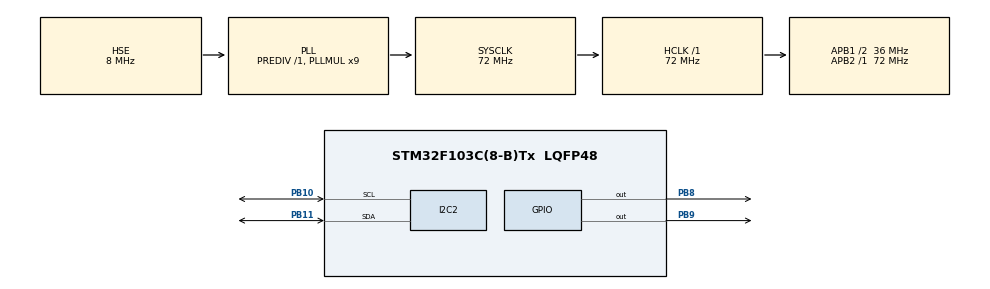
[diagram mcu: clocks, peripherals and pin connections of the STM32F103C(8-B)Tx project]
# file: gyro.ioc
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I2C2.I2C_Mode=I2C_Standard
Mcu.Family=STM32F1
Mcu.Name=STM32F103C(8-B)Tx
Mcu.Package=LQFP48
NVIC.PriorityGroup=NVIC_PRIORITYGROUP_4
NVIC.TIM3_IRQn=true\:0\:0\:false\:false\:true\:true\:true\:true
PA13.Mode=Serial_Wire
PA13.Signal=SYS_JTMS-SWDIO
PA14.Mode=Serial_Wire
PA14.Signal=SYS_JTCK-SWCLK
PB10.Mode=I2C
PB10.Signal=I2C2_SCL
PB11.Mode=I2C
PB11.Signal=I2C2_SDA
PB8.GPIO_ModeDefaultOutputPP=GPIO_MODE_OUTPUT_OD
PB8.GPIO_PuPd=GPIO_PULLUP
PB8.GPIO_Speed=GPIO_SPEED_FREQ_HIGH
PB8.PinState=GPIO_PIN_SET
PB8.Signal=GPIO_Output
PB9.GPIO_ModeDefaultOutputPP=GPIO_MODE_OUTPUT_OD
PB9.GPIO_PuPd=GPIO_PULLUP
PB9.GPIO_Speed=GPIO_SPEED_FREQ_HIGH
PB9.PinState=GPIO_PIN_SET
PB9.Signal=GPIO_Output
PD0-OSC_IN.Mode=HSE-External-Oscillator
PD0-OSC_IN.Signal=RCC_OSC_IN
PD1-OSC_OUT.Mode=HSE-External-Oscillator
PD1-OSC_OUT.Signal=RCC_OSC_OUT
ProjectManager.HeapSize=0x200
ProjectManager.StackSize=0x400
ProjectManager.TargetToolchain=CMake
RCC.AHBFreq_Value=72000000
RCC.APB1CLKDivider=RCC_HCLK_DIV2
RCC.APB1Freq_Value=36000000
RCC.APB1TimFreq_Value=72000000
RCC.APB2Freq_Value=72000000
RCC.APB2TimFreq_Value=72000000
RCC.HCLKFreq_Value=72000000
RCC.PLLMUL=RCC_PLL_MUL9
RCC.PLLSourceVirtual=RCC_PLLSOURCE_HSE
RCC.SYSCLKFreq_VALUE=72000000
RCC.SYSCLKSource=RCC_SYSCLKSOURCE_PLLCLK
RCC.USBFreq_Value=72000000
TIM3.Period=9999
TIM3.Prescaler=71
VP_TIM3_VS_ClockSourceINT.Mode=Internal
board=custom

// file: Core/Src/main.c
/* USER CODE BEGIN Header */
/**
  ******************************************************************************
  * @file           : main.c
  * @brief          : Main program body
  ******************************************************************************
  * @attention
  *
  * Copyright (c) 2026 STMicroelectronics.
  * All rights reserved.
  *
  * This software is licensed under terms that can be found in the LICENSE file
  * in the root directory of this software component.
  * If no LICENSE file comes with this software, it is provided AS-IS.
  *
  ******************************************************************************
  */
/* USER CODE END Header */
#include "main.h"
#include "i2c.h"
#include "tim.h"
#include "gpio.h"

/* USER CODE BEGIN Includes */

#include "math.h"
#include "OLED.h"
#include "MPU6050.h"

/* USER CODE END Includes */

/* USER CODE BEGIN PD */

#define ACC_SENSITIVITY  16384.0f
#define GYRO_SENSITIVITY 131.0f
#define ALPHA 0.85f
#define DT    0.02f

/* USER CODE END PD */

/* USER CODE BEGIN PV */

int16_t AX,AY,AZ,GX,GY,GZ;
float pitch_fused = 0.0f;
float roll_fused  = 0.0f;
float yaw_fused  = 0.0f;
volatile uint8_t MPU_Ready = 0;

/* USER CODE END PV */

void SystemClock_Config(void);

int main(void)
{

  /* MCU Configuration--------------------------------------------------------*/

  /* Reset of all peripherals, Initializes the Flash interface and the Systick. */
  HAL_Init();

  /* Configure the system clock */
  SystemClock_Config();

  /* Initialize all configured peripherals */
  MX_GPIO_Init();
  MX_I2C2_Init();
  MX_TIM3_Init();
  /* USER CODE BEGIN 2 */

  OLED_Init();;
  OLED_Clear();
  HAL_TIM_Base_Start_IT(&htim3);
  MPU6050_Init();

  OLED_ShowString(1,1,"ROLL:");
  OLED_ShowString(2,1,"PITCH:");
  OLED_ShowString(3,1,"YAW:");
  OLED_ShowChar(1, 11, '.');
  OLED_ShowChar(2, 11, '.');
  OLED_ShowChar(3, 11, '.');

  /* USER CODE END 2 */

  /* Infinite loop */
  while (1)
  {

    /* USER CODE BEGIN 3 */

    if (MPU_Ready) {
      MPU_Ready = 0;
      MPU6050_GetData(&AX,&AY,&AZ,&GX,&GY,&GZ);
      float ax = AX / ACC_SENSITIVITY;
      float ay = AY / ACC_SENSITIVITY;
      float az = AZ / ACC_SENSITIVITY;
      float gx = GX / GYRO_SENSITIVITY;
      float gy = GY / GYRO_SENSITIVITY;
      float gz = GZ / GYRO_SENSITIVITY;

      float roll_acc  = atan2f(ay, az) * (180.0f / M_PI);
      float pitch_acc = atan2f(-ax, sqrtf(ay * ay + az * az)) * (180.0f / M_PI);

      roll_fused  = ALPHA * (roll_fused  + gx * DT) + (1.0f - ALPHA) * roll_acc;
      pitch_fused = ALPHA * (pitch_fused + gy * DT) + (1.0f - ALPHA) * pitch_acc;
      yaw_fused += gz * DT;

      OLED_ShowSignedNum(1,7,(int32_t)roll_fused,3);
      OLED_ShowSignedNum(2,7,(int32_t)pitch_fused,3);
      OLED_ShowSignedNum(3,7,(int32_t)yaw_fused,3);

      OLED_ShowNum(1,12,(int32_t)(fabs(roll_fused) * 100)%100,3);
      OLED_ShowNum(2,12,(int32_t)(fabs(pitch_fused) * 100)%100,3);
      OLED_ShowNum(3,12,(int32_t)(fabs(yaw_fused) * 100)%100,3);
    }

  }
  /* USER CODE END 3 */
}

void SystemClock_Config(void)
{
  RCC_OscInitTypeDef RCC_OscInitStruct = {0};
  RCC_ClkInitTypeDef RCC_ClkInitStruct = {0};

  /** Initializes the RCC Oscillators according to the specified parameters
  * in the RCC_OscInitTypeDef structure.
  */
  RCC_OscInitStruct.OscillatorType = RCC_OSCILLATORTYPE_HSE;
  RCC_OscInitStruct.HSEState = RCC_HSE_ON;
  RCC_OscInitStruct.HSEPredivValue = RCC_HSE_PREDIV_DIV1;
  RCC_OscInitStruct.HSIState = RCC_HSI_ON;
  RCC_OscInitStruct.PLL.PLLState = RCC_PLL_ON;
  RCC_OscInitStruct.PLL.PLLSource = RCC_PLLSOURCE_HSE;
  RCC_OscInitStruct.PLL.PLLMUL = RCC_PLL_MUL9;
  if (HAL_RCC_OscConfig(&RCC_OscInitStruct) != HAL_OK)
  {
    Error_Handler();
  }

  /** Initializes the CPU, AHB and APB buses clocks
  */
  RCC_ClkInitStruct.ClockType = RCC_CLOCKTYPE_HCLK|RCC_CLOCKTYPE_SYSCLK
                              |RCC_CLOCKTYPE_PCLK1|RCC_CLOCKTYPE_PCLK2;
  RCC_ClkInitStruct.SYSCLKSource = RCC_SYSCLKSOURCE_PLLCLK;
  RCC_ClkInitStruct.AHBCLKDivider = RCC_SYSCLK_DIV1;
  RCC_ClkInitStruct.APB1CLKDivider = RCC_HCLK_DIV2;
  RCC_ClkInitStruct.APB2CLKDivider = RCC_HCLK_DIV1;

  if (HAL_RCC_ClockConfig(&RCC_ClkInitStruct, FLASH_LATENCY_2) != HAL_OK)
  {
    Error_Handler();
  }
}

/* USER CODE BEGIN 4 */

void HAL_TIM_PeriodElapsedCallback(TIM_HandleTypeDef *htim) {
  if (htim->Instance == TIM3) {
    MPU_Ready=1;
  }
}

/* USER CODE END 4 */

void Error_Handler(void)
{
  __disable_irq();
  while (1)
  {
  }
}
